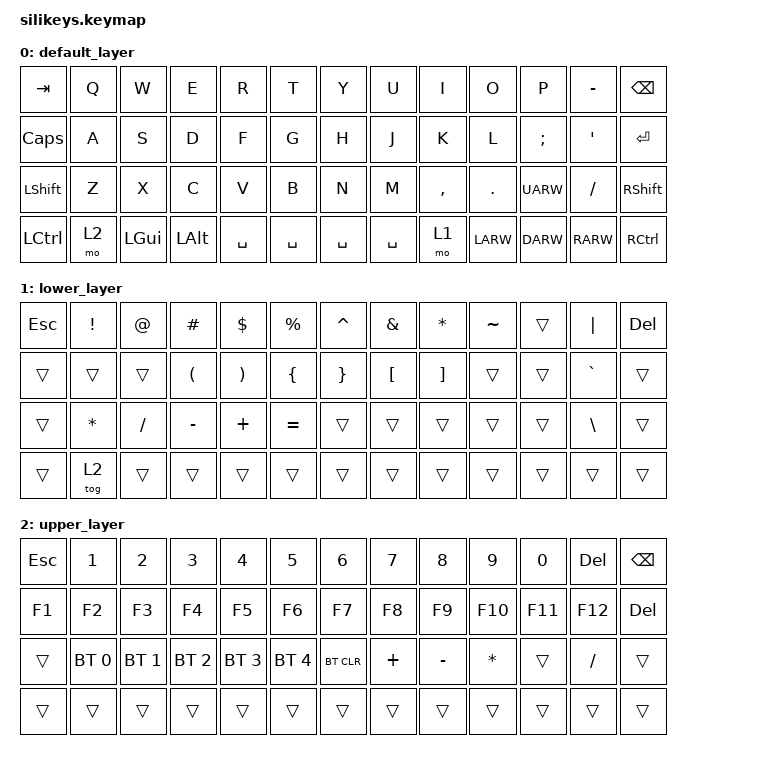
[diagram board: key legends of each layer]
#include <behaviors.dtsi>
#include <dt-bindings/zmk/keys.h>
#include <dt-bindings/zmk/bt.h>

/ {
        keymap {
                compatible = "zmk,keymap";

                default_layer {
// ---------------------------------------------------------------------------------
// |  TAB |  Q  |  W  |  E  |  R  |  T  |     |  Y  |  U  |  I  |  O  |  P  |  -   | bksc |
// | CAPS |  A  |  S  |  D  |  F  |  G  |     |  H  |  J  |  K  |  L  |  ;  |  '   |  ENT |
// | SHFT |  Z  |  X  |  C  |  V  |  B  |     |  N  |  M  |  ,  |  .  |UARW |  /   | SHFT |
// | CTRL |FUNC | GUI | ALT | SPC | SPC |     | SPC | SPC |STAR |LARW |DARW | RARW | DEV  |
                        bindings = <
   &kp TAB    &kp Q     &kp W     &kp E      &kp R      &kp T                &kp Y      &kp U     &kp I      &kp O     &kp P     &kp MINUS &kp BSPC
   &kp CAPS   &kp A     &kp S     &kp D      &kp F      &kp G                &kp H      &kp J     &kp K      &kp L     &kp SEMI  &kp APOS  &kp RET
   &kp LSHFT  &kp Z     &kp X     &kp C      &kp V      &kp B                &kp N      &kp M     &kp COMMA  &kp DOT   &kp UARW  &kp FSLH  &kp RSHFT
   &kp LCTRL  &mo 2     &kp LGUI  &kp LALT   &kp SPACE  &kp SPACE            &kp SPACE  &kp SPACE &mo 1      &kp LARW  &kp DARW  &kp RARW  &kp RCTRL
                        >;
                };

                lower_layer {
// ------------------------------------------------------------------------------------------------------------------------------------------------------
// |  ESC  |  EXCL |  AT   |  HASH |  DLLR | PRCNT |                                               | CARET |  AMPS | ASTRK | TILDE |       |  pipe |  DEL  |
// |       |       |       | LPAR  | RPAR  | LBRC  |                                               | RBRC  |  LBKT | RBKT  |       |       | GRAVE |       |
// |       |       |       |       |       |   =   |                                               |       |       |       |       |       |   \   |       |
// |       |       |       |       |  spc  |  spc  |                                               |  spc  |  spc  |       |       |       |       |       |
                        bindings = <
&kp ESC   &kp EXCL       &kp AT         &kp HASH       &kp DLLR       &kp PRCNT              &kp CARET &kp AMPS  &kp ASTRK &kp TILDE   &trans     &kp PIPE   &kp DEL
&trans    &trans         &trans         &kp LPAR       &kp RPAR       &kp LBRC               &kp RBRC  &kp LBKT  &kp RBKT  &trans      &trans     &kp GRAVE  &trans
&trans    &kp ASTRK      &kp FSLH       &kp MINUS      &kp PLUS       &kp EQUAL              &trans    &trans    &trans    &trans      &trans     &kp BSLH   &trans
&trans    &tog 2         &trans         &trans         &trans         &trans                 &trans    &trans    &trans    &trans      &trans     &trans     &trans
                        >;
                };

                upper_layer {
// ------------------------------------------------------------------------------------------------------------------------------------------------------
// |  ESC  |  EXCL |  AT   |  HASH |  DLLR | PRCNT |                                               | CARET |  AMPS | ASTRK | TILDE |       |  pipe |  DEL  |
// |       |       |       | LPAR  | RPAR  | LBRC  |                                               | RBRC  |  LBKT | RBKT  |       |       | GRAVE |       |
// |       |  BT1  |  BT2  |  BT3  |  BT4  |  BT5  |                                               |       |       |       |       |       |   \   |       |
// |       |       |       |       |       |       |                                               |       |       |       |       |       |       |       |
                        bindings = <

&kp ESC   &kp N1         &kp N2         &kp N3         &kp N4         &kp N5                 &kp N6     &kp N7    &kp N8    &kp N9      &kp N0     &kp DEL    &kp BSPC
&kp F1    &kp F2         &kp F3         &kp F4         &kp F5         &kp F6                 &kp F7     &kp F8    &kp F9    &kp F10     &kp F11    &kp F12    &kp DEL
&trans    &bt BT_SEL 0   &bt BT_SEL 1   &bt BT_SEL 2   &bt BT_SEL 3   &bt BT_SEL 4           &bt BT_CLR &kp PLUS  &kp MINUS &kp ASTRK   &trans     &kp FSLH   &trans
&trans    &trans         &trans         &trans         &trans         &trans                 &trans     &trans    &trans    &trans      &trans     &trans     &trans
                        >;
                };
        };
};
